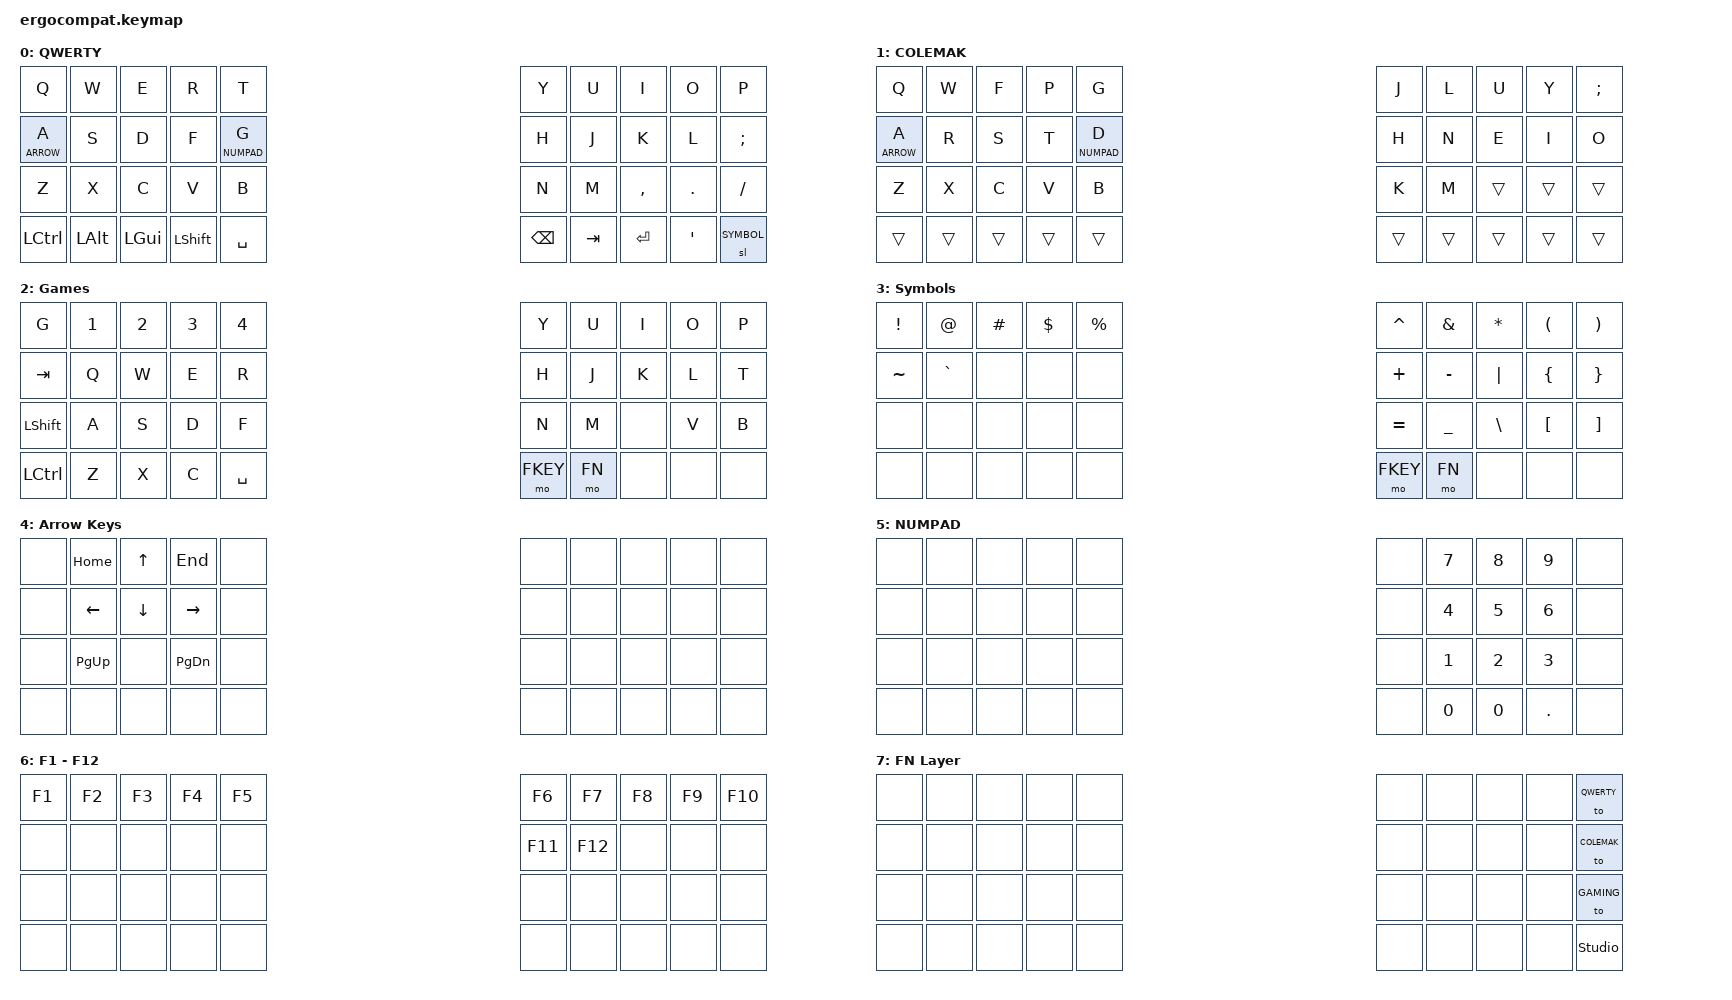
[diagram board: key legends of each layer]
#include <behaviors.dtsi>
#include <dt-bindings/zmk/keys.h>

#define QWERTY 0
#define COLEMAK 1
#define GAMING 2
#define SYMBOL 3
#define ARROW 4
#define NUMPAD 5
#define FKEY 6
#define FN 7

/ {
        keymap {
                compatible = "zmk,keymap";

                default_layer {
                        display-name = "QWERTY";
// -----------------------------------------------------------------------------------------
// |  Q  |  W  |  E   |  R     |  T  |              |  Y   |  U   |  I  |  O  |  P  |
// |  A  |  S  |  D   |  F     |  G  |              |  H   |  J   |  K  |  L  |  ;  |
// |  Z  |  X  |  C   |  V     |  B  |              |  N   |  M   |  ,  |  .  |  /  |
// | CTRL| LALT| LGUI | LSHIFT | SPACE |            | BSPC |  TAB | RET |  "  |  SYMBOL  |
                        bindings = <
   &kp Q          &kp W     &kp E      &kp R       &kp T                   &kp Y       &kp U     &kp I          &kp O     &kp P
   &lt ARROW A    &kp S     &kp D      &kp F       &lt NUMPAD G            &kp H       &kp J     &kp K          &kp L     &kp SEMI
   &kp Z          &kp X     &kp C      &kp V       &kp B                   &kp N       &kp M     &kp COMMA      &kp DOT   &kp FSLH
   &kp LCTRL      &kp LALT  &kp LGUI   &kp LSHIFT  &kp SPACE               &kp BSPC    &kp TAB   &kp RET        &kp SQT   &sl SYMBOL
                        >;
                };

                colemak_layer {
                        display-name = "COLEMAK";
// -----------------------------------------------------------------------------------------
// |  Q  |  W  |  F  |  P  |  G  |              |  J  |  L   |  U  |  Y  |  :  |
// |  A  |  R  |  S  |  T  |  D  |              |  H  |  N   |  E  |  I  |  O  |
// |  Z  |  X  |  C  |  V  |  B  |              |  K  |  M   |     |     |     |
// |     |     |     |     |     |              |     |      |     |     |     |
                        bindings = <
   &kp Q       &kp W     &kp F     &kp P     &kp G                   &kp J       &kp L     &kp U      &kp Y     &kp SEMI
   &lt ARROW A &kp R     &kp S     &kp T     &lt NUMPAD D            &kp H       &kp N     &kp E      &kp I     &kp O
   &kp Z       &kp X     &kp C     &kp V     &kp B                   &kp K       &kp M     &trans     &trans    &trans
   &trans      &trans    &trans    &trans    &trans                  &trans     &trans     &trans     &trans    &trans
                        >;
                };

                gaming_layer {
                        display-name = "Games";
// -----------------------------------------------------------------------------------------
// |  G     |  1  |  2  |  3  |  4  |              |  Y   |  U   |  I  |  O  |  P  |
// |  TAB   |  Q  |  W  |  E  |  R  |              |  H   |  J   |  K  |  L  |  T  |
// |  SHIFT |  A  |  S  |  D  |  F  |              |  N   |  M   |     |  V  |  B  |
// |  CTRL  |  Z  |  X  |  C  | SPACE |            | FKEY |  FN  |     |     |     |
                        bindings = <
   &kp G        &kp N1     &kp N2    &kp N3    &kp N4                  &kp Y       &kp U     &kp I          &kp O     &kp P
   &kp TAB      &kp Q      &kp W     &kp E     &kp R                   &kp H       &kp J     &kp K          &kp L     &kp T
   &kp LSHIFT   &kp A      &kp S     &kp D     &kp F                   &kp N       &kp M     &none          &kp V     &kp B
   &kp LCTRL    &kp Z      &kp X     &kp C     &kp SPACE               &mo FKEY    &mo FN    &none         &none     &none
                        >;
                };

                symbols_layer {
                        display-name = "Symbols";
// -----------------------------------------------------------------------------------------
// |  !  |  @  |  #  |  $  |  %  |              |  ^  |  &  |  *  |  (  |  )  |
// | ~   |  `  |     |     |     |              |  +  |  -  |  |  |  {  |  }  |
// |     |     |     |     |     |              |  =  |  _  |  \  |  [  |  ]  |
// |     |     |     |     |     |              | FKEY|  FN |     |     |     |
                        bindings = <
   &kp EXCL   &kp AT    &kp HASH  &kp DLLR  &kp PRCNT               &kp CARET   &kp AMPS  &kp STAR      &kp LPAR  &kp RPAR
   &kp TILDE  &kp GRAVE &none     &none     &none                   &kp PLUS    &kp MINUS &kp PIPE      &kp LBRC  &kp RBRC
   &none      &none     &none     &none     &none                   &kp EQUAL   &kp UNDER &kp BSLH      &kp LBKT  &kp RBKT
   &none      &none     &none     &none     &none                   &mo FKEY    &mo FN    &none         &none     &none
                        >;
                };

                arrow_layer {
                        display-name = "Arrow Keys";
// -----------------------------------------------------------------------------------------
// |     | HOME |  ⬆  | END |     |              |     |      |     |     |     |
// |     |  ⬅  |  ⬇  |  ⮕ |     |               |     |      |     |     |     |
// |     |PG_UP |     |PG_DN|     |              |     |      |     |     |     |
// |     |      |     |     |     |              |     |      |     |     |     |
                        bindings = <
   &none      &kp HOME  &kp UP    &kp END   &none                   &none       &none     &none         &none     &none
   &none      &kp LEFT  &kp DOWN  &kp RIGHT &none                   &none       &none     &none         &none     &none
   &none      &kp PG_UP &none     &kp PG_DN &none                   &none       &none     &none         &none     &none
   &none      &none     &none     &none     &none                   &none       &none     &none         &none     &none
                        >;
                };

                num_layer {
                        display-name = "NUMPAD";
// -----------------------------------------------------------------------------------------
// |     |     |     |     |     |              |     |  7  |  8  |  9  |     |
// |     |     |     |     |     |              |     |  4  |  5  |  6  |     |
// |     |     |     |     |     |              |     |  1  |  2  |  3  |     |
// |     |     |     |     |     |              |     |  0  |  0  |  .  |     |
                        bindings = <
   &none      &none     &none     &none     &none                   &none       &kp N7   &kp N8       &kp N9     &none
   &none      &none     &none     &none     &none                   &none       &kp N4   &kp N5       &kp N6     &none
   &none      &none     &none     &none     &none                   &none       &kp N1   &kp N2       &kp N3     &none
   &none      &none     &none     &none     &none                   &none       &kp N0   &kp N0       &kp DOT    &none
                        >;
                };

                fkeys_layer {
                        display-name = "F1 - F12";
// -----------------------------------------------------------------------------------------
// |  F1 |  F2 |  F3 |  F4 |  F5 |              |  F6 |  F7 |  F8 |  F9 | F10 |
// |     |     |     |     |     |              |  F11|  F12|     |     |     |
// |     |     |     |     |     |              |     |     |     |     |     |
// |     |     |     |     |     |              |     |     |     |     |     |
                        bindings = <
   &kp F1     &kp F2    &kp F3    &kp F4    &kp F5                  &kp F6      &kp F7    &kp F8        &kp F9    &kp F10
   &none      &none     &none     &none     &none                   &kp F11     &kp F12   &none         &none     &none
   &none      &none     &none     &none     &none                   &none       &none     &none         &none     &none
   &none      &none     &none     &none     &none                   &none       &none     &none         &none     &none
                        >;
                };

                fn_layer {
                        display-name = "FN Layer";
// -----------------------------------------------------------------------------------------
// |     |     |     |     |     |              |     |     |     |     |  QWERTY   |
// |     |     |     |     |     |              |     |     |     |     |  COLEMAK  |
// |     |     |     |     |     |              |     |     |     |     |  GAMING   |
// |     |     |     |     |     |              |     |     |     |     |  STUDIO   |
                        bindings = <
   &none        &none        &none        &none        &none        &none      &none     &none         &none     &to QWERTY
   &none        &none        &none        &none        &none        &none      &none     &none         &none     &to COLEMAK
   &none        &none        &none        &none        &none        &none      &none     &none         &none     &to GAMING
   &none        &none        &none        &none        &none        &none      &none     &none         &none     &studio_unlock
                        >;
                };
        };
};
